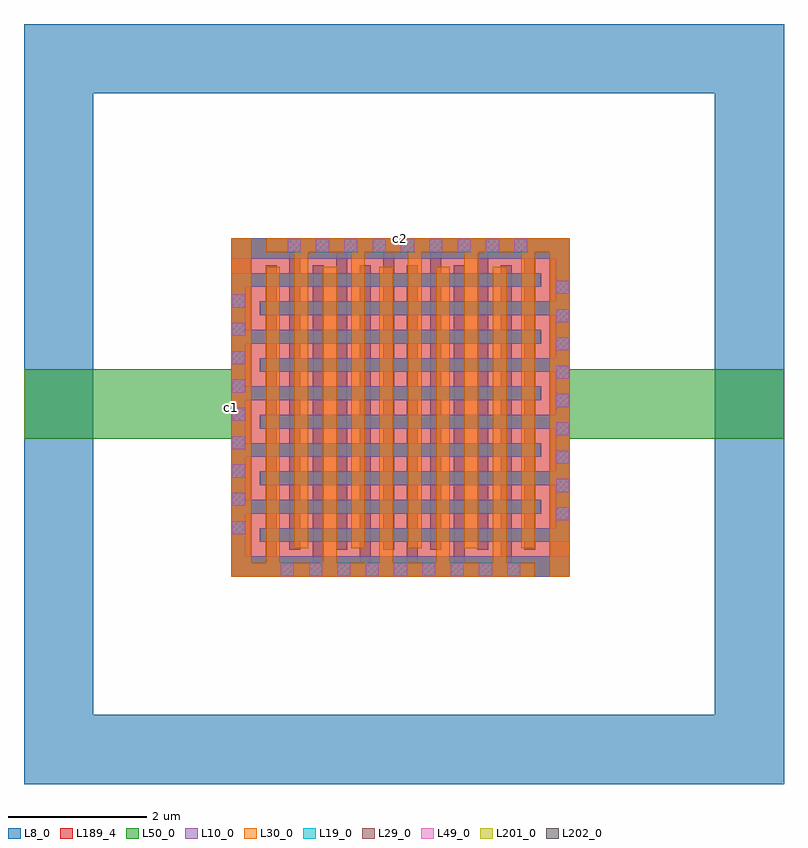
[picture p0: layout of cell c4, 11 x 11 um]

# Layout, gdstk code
import gdstk
lib = gdstk.Library(unit=1e-6, precision=1e-09)
def R(c, l, rs):  # rectangles x0, y0, x1, y1
    for r in rs: c.add(gdstk.rectangle(r[:2], r[2:], *l))
def A(c, l, x, y, w, h, nx, ny, dx, dy):  # array of equal rectangles
    R(c, l, [(x+i*dx, y+j*dy, x+i*dx+w, y+j*dy+h) for i in range(nx) for j in range(ny)])
def P(c, l, *ps):  # polygons
    for p in ps: c.add(gdstk.Polygon(p, *l))
L8_0 = (8, 0)
L10_0 = (10, 0)
L19_0 = (19, 0)
L29_0 = (29, 0)
L30_0 = (30, 0)
L49_0 = (49, 0)
L50_0 = (50, 0)
L189_4 = (189, 4)
L201_0 = (201, 0)
L202_0 = (202, 0)

c_c4 = lib.new_cell('c4')
A(c_c4, L8_0, 0.5, 0.21, 0.16, 4.3, 6, 1, 0.68, 0)
A(c_c4, L8_0, 0.84, 0.39, 0.16, 4.3, 6, 1, 0.68, 0)
R(c_c4, L8_0, [(-3,-3,-2,8), (-2,-3,7,-2), (7,-3,8,8), (0,0,4.4,0.21), (4.62,0,4.9,4.69), (0,0.21,0.28,4.9), (0.5,4.69,4.9,4.9), (-2,7,7,8)])
A(c_c4, L10_0, 0, 0.295, 0.205, 0.62, 1, 5, 0, 0.82)
A(c_c4, L10_0, 0.42, 0.505, 4.48, 0.2, 1, 5, 0, 0.82)
A(c_c4, L10_0, 4.695, 0.705, 0.205, 0.62, 1, 5, 0, 0.82)
A(c_c4, L10_0, 0, 0.915, 4.48, 0.2, 1, 5, 0, 0.82)
R(c_c4, L10_0, [(0,0,4.9,0.295), (0,4.605,4.9,4.9)])
A(c_c4, L19_0, 0.715, 0.01, 0.19, 0.19, 9, 1, 0.41, 0)
A(c_c4, L19_0, 0.01, 0.615, 0.19, 0.19, 1, 9, 0, 0.41)
A(c_c4, L19_0, 4.7, 0.815, 0.19, 0.19, 1, 9, 0, 0.41)
A(c_c4, L19_0, 0.815, 4.7, 0.19, 0.19, 9, 1, 0.41, 0)
A(c_c4, L29_0, 0.715, 0.005, 0.19, 0.19, 9, 1, 0.41, 0)
A(c_c4, L29_0, 0.005, 0.615, 0.19, 0.19, 1, 9, 0, 0.41)
A(c_c4, L29_0, 4.705, 0.815, 0.19, 0.19, 1, 9, 0, 0.41)
A(c_c4, L29_0, 0.815, 4.705, 0.19, 0.19, 9, 1, 0.41, 0)
A(c_c4, L30_0, 0.505, 0.2, 0.2, 4.29, 5, 1, 0.82, 0)
A(c_c4, L30_0, 0.915, 0.41, 0.2, 4.29, 5, 1, 0.82, 0)
R(c_c4, L30_0, [(0,0,4.395,0.2), (4.605,0,4.9,4.7), (0,0.2,0.295,4.9), (0.505,4.7,4.9,4.9)])
A(c_c4, L49_0, 0.715, 0.005, 0.19, 0.19, 9, 1, 0.41, 0)
A(c_c4, L49_0, 0.005, 0.615, 0.19, 0.19, 1, 9, 0, 0.41)
A(c_c4, L49_0, 4.705, 0.815, 0.19, 0.19, 1, 9, 0, 0.41)
A(c_c4, L49_0, 0.815, 4.705, 0.19, 0.19, 9, 1, 0.41, 0)
A(c_c4, L50_0, 0, 0.295, 0.2, 0.62, 1, 5, 0, 0.82)
A(c_c4, L50_0, 0.41, 0.505, 4.49, 0.2, 1, 5, 0, 0.82)
A(c_c4, L50_0, 4.7, 0.705, 0.2, 0.62, 1, 5, 0, 0.82)
A(c_c4, L50_0, 0, 0.915, 4.49, 0.2, 1, 5, 0, 0.82)
R(c_c4, L50_0, [(0,0,4.9,0.295), (-3,2,0,3), (4.9,2,8,3), (0,4.605,4.9,4.9)])
R(c_c4, L189_4, [(0,0,4.9,4.9)])
P(c_c4, L201_0, [(-3,2),(-3,3),(-3,3),(-3,2)])
P(c_c4, L202_0, [(8,2),(8,3),(8,3),(8,2)])
c_c4.add(gdstk.Label('c1', (0.01,2.45), layer=50, texttype=25))
c_c4.add(gdstk.Label('c2', (2.45,4.89), layer=50, texttype=25))

lib.write_gds('c4.gds')
